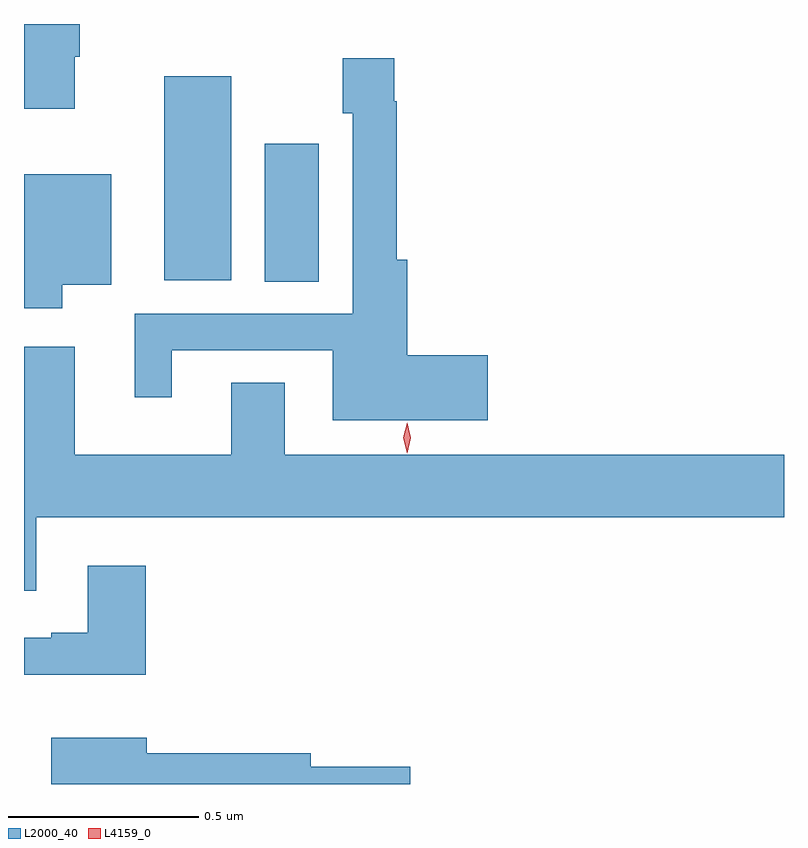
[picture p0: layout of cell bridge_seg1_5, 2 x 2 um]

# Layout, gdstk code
import gdstk
lib = gdstk.Library(unit=1e-6, precision=1e-09)
def R(c, l, rs):  # rectangles x0, y0, x1, y1
    for r in rs: c.add(gdstk.rectangle(r[:2], r[2:], *l))
def P(c, l, *ps):  # polygons
    for p in ps: c.add(gdstk.Polygon(p, *l))
L2000_40 = (2000, 40)
L4159_0 = (4159, 0)

bridge_seg1_5 = lib.new_cell('bridge_seg1_5')
R(bridge_seg1_5, L2000_40, [(863.096,563.008,863.239,563.371), (862.832,563.012,863.008,563.548)])
P(bridge_seg1_5, L2000_40, [(862.597,563.6),(862.61,563.6),(862.61,563.686),(862.463,563.686),(862.463,563.463),(862.597,563.463)],
  [(863.683,562.814),(863.471,562.814),(863.471,563.065),(863.444,563.065),(863.444,563.483),(863.437,563.483),(863.437,563.596),(863.302,563.596),(863.302,563.451),(863.328,563.451),(863.328,562.923),(862.754,562.923),(862.754,562.704),(862.852,562.704),(862.852,562.827),(863.276,562.827),(863.276,562.643),(863.683,562.643)],
  [(862.564,563),(862.693,563),(862.693,563.29),(862.463,563.29),(862.463,562.938),(862.564,562.938)],
  [(862.495,562.388),(864.463,562.388),(864.463,562.552),(863.149,562.552),(863.149,562.742),(863.009,562.742),(863.009,562.552),(862.597,562.552),(862.597,562.837),(862.463,562.837),(862.463,562.194),(862.495,562.194)],
  [(862.784,562.261),(862.631,562.261),(862.631,562.084),(862.535,562.084),(862.535,562.071),(862.463,562.071),(862.463,561.974),(862.784,561.974)],
  [(863.479,561.731),(863.218,561.731),(863.218,561.767),(862.786,561.767),(862.786,561.808),(862.535,561.808),(862.535,561.686),(863.479,561.686)])
P(bridge_seg1_5, L4159_0, [(863.471,562.556),(863.471,562.557),(863.461,562.597),(863.471,562.637),(863.471,562.637),(863.471,562.637),(863.481,562.597),(863.471,562.557)])

lib.write_gds('bridge_seg1_5.gds')
